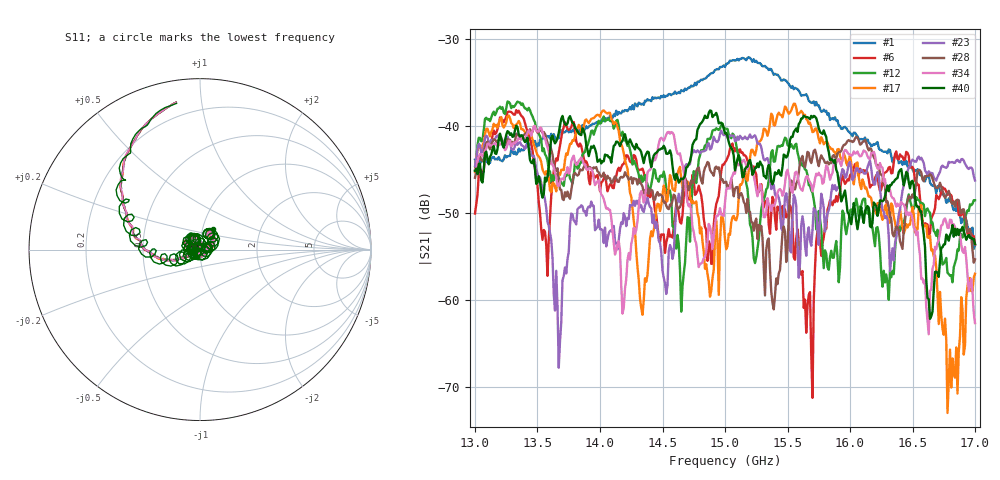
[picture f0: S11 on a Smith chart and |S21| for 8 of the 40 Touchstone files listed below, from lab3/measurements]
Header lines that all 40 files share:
!Keysight Technologies,P9374A,MY57211807,A.19.30.04
!Correction: S11(C  2-Port  )
!S21(C  2-Port  )
!S12(C  2-Port  )
!S22(C  2-Port  )
!S2P File: Measurements: S11, S21, S12, S22:
# Hz S  dB  R 50
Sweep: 13 GHz to 17 GHz
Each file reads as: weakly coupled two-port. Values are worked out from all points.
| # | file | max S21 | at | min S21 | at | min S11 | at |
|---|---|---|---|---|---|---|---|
| 1 | 1x1patch.s2p | -32.09 dB | 15.19 GHz | -54.2 dB | 16.99 GHz | -51.7 dB | 15.62 GHz |
| 2 | 1x2patch.s2p | -30.44 dB | 14.96 GHz | -52.8 dB | 16.23 GHz | -58.7 dB | 15.62 GHz |
| 3 | 1x4patch.s2p | -32.26 dB | 15.18 GHz | -52.2 dB | 17 GHz | -44.9 dB | 15.62 GHz |
| 4 | 1x8a0.s2p | -38.40 dB | 14.9 GHz | -57.2 dB | 16.65 GHz | -49.9 dB | 14.07 GHz |
| 5 | 1x8a2.s2p | -39.18 dB | 13.33 GHz | -86.3 dB | 15.36 GHz | -48.8 dB | 15.64 GHz |
| 6 | 1x8a4.s2p | -38.17 dB | 13.33 GHz | -71.3 dB | 15.7 GHz | -46.2 dB | 15.61 GHz |
| 7 | 1x8a6.s2p | -37.28 dB | 13.33 GHz | -55.5 dB | 17 GHz | -43.1 dB | 15.61 GHz |
| 8 | 1x8a8.s2p | -36.48 dB | 13.28 GHz | -59.4 dB | 16.96 GHz | -45.0 dB | 15.61 GHz |
| 9 | 1x8a10.s2p | -36.33 dB | 13.35 GHz | -69.8 dB | 13.92 GHz | -48.8 dB | 15.6 GHz |
| 10 | 1x8a12.s2p | -36.50 dB | 13.35 GHz | -67.2 dB | 16.9 GHz | -49.4 dB | 15.6 GHz |
| 11 | 1x8a14.s2p | -36.76 dB | 13.35 GHz | -63.9 dB | 15.29 GHz | -49.0 dB | 15.61 GHz |
| 12 | 1x8a16.s2p | -37.19 dB | 13.26 GHz | -61.4 dB | 14.65 GHz | -45.4 dB | 15.61 GHz |
| 13 | 1x8a18.s2p | -37.31 dB | 13.26 GHz | -66.9 dB | 15.8 GHz | -42.2 dB | 15.61 GHz |
| 14 | 1x8a20.s2p | -37.27 dB | 14.04 GHz | -65.1 dB | 16.82 GHz | -53.9 dB | 15.61 GHz |
| 15 | 1x8a22.s2p | -36.89 dB | 14.05 GHz | -67.2 dB | 15.09 GHz | -52.7 dB | 15.61 GHz |
| 16 | 1x8a24.s2p | -37.47 dB | 14.02 GHz | -79.4 dB | 16.81 GHz | -55.1 dB | 15.61 GHz |
| 17 | 1x8a26.s2p | -37.44 dB | 15.56 GHz | -73.0 dB | 16.78 GHz | -45.9 dB | 15.61 GHz |
| 18 | 1x8a28.s2p | -37.90 dB | 15.56 GHz | -82.8 dB | 16.77 GHz | -51.9 dB | 15.61 GHz |
| 19 | 1x8a30.s2p | -38.80 dB | 15.62 GHz | -67.8 dB | 14.25 GHz | -49.7 dB | 15.61 GHz |
| 20 | 1x8a32.s2p | -39.89 dB | 13.26 GHz | -62.4 dB | 14.26 GHz | -45.8 dB | 15.61 GHz |
| 21 | 1x8a34.s2p | -40.24 dB | 13.26 GHz | -60.7 dB | 13.65 GHz | -49.3 dB | 15.61 GHz |
| 22 | 1x8a36.s2p | -40.43 dB | 15.12 GHz | -70.6 dB | 13.65 GHz | -60.2 dB | 15.62 GHz |
| 23 | 1x8a38.s2p | -40.54 dB | 14.97 GHz | -67.8 dB | 13.67 GHz | -65.6 dB | 15.61 GHz |
| 24 | 1x8a40.s2p | -40.82 dB | 15 GHz | -75.8 dB | 15.59 GHz | -47.4 dB | 15.61 GHz |
| 25 | 1x8a42.s2p | -40.91 dB | 14.93 GHz | -68.8 dB | 14.55 GHz | -47.7 dB | 15.61 GHz |
| 26 | 1x8a44.s2p | -40.98 dB | 13.48 GHz | -69.1 dB | 16.36 GHz | -44.7 dB | 15.61 GHz |
| 27 | 1x8a46.s2p | -40.34 dB | 13.47 GHz | -64.4 dB | 16.35 GHz | -48.0 dB | 15.62 GHz |
| 28 | 1x8a48.s2p | -40.13 dB | 13.48 GHz | -61.1 dB | 15.39 GHz | -51.9 dB | 15.61 GHz |
| 29 | 1x8a50.s2p | -39.44 dB | 13.44 GHz | -71.1 dB | 15.38 GHz | -51.4 dB | 15.61 GHz |
| 30 | 1x8a52.s2p | -39.63 dB | 13.28 GHz | -80.0 dB | 15.4 GHz | -43.4 dB | 15.61 GHz |
| 31 | 1x8a54.s2p | -39.81 dB | 13.44 GHz | -65.9 dB | 16.98 GHz | -56.2 dB | 15.61 GHz |
| 32 | 1x8a56.s2p | -40.10 dB | 13.53 GHz | -79.2 dB | 15.37 GHz | -55.0 dB | 15.61 GHz |
| 33 | 1x8a58.s2p | -39.69 dB | 13.58 GHz | -61.2 dB | 17 GHz | -63.5 dB | 15.62 GHz |
| 34 | 1x8a60.s2p | -40.02 dB | 13.48 GHz | -64.0 dB | 16.63 GHz | -53.2 dB | 15.61 GHz |
| 35 | 1x8a62.s2p | -40.92 dB | 13.47 GHz | -78.0 dB | 14.79 GHz | -60.6 dB | 15.62 GHz |
| 36 | 1x8a64.s2p | -40.58 dB | 13.52 GHz | -68.6 dB | 14.14 GHz | -58.3 dB | 15.62 GHz |
| 37 | 1x8a66.s2p | -39.94 dB | 13.35 GHz | -60.7 dB | 14.74 GHz | -57.5 dB | 15.61 GHz |
| 38 | 1x8a68.s2p | -39.71 dB | 13.26 GHz | -56.5 dB | 14.73 GHz | -55.2 dB | 15.61 GHz |
| 39 | 1x8a70.s2p | -38.96 dB | 13.26 GHz | -54.2 dB | 14.74 GHz | -50.0 dB | 15.61 GHz |
| 40 | 1x8ap0.s2p | -38.22 dB | 14.88 GHz | -62.2 dB | 16.64 GHz | -56.6 dB | 15.69 GHz |
